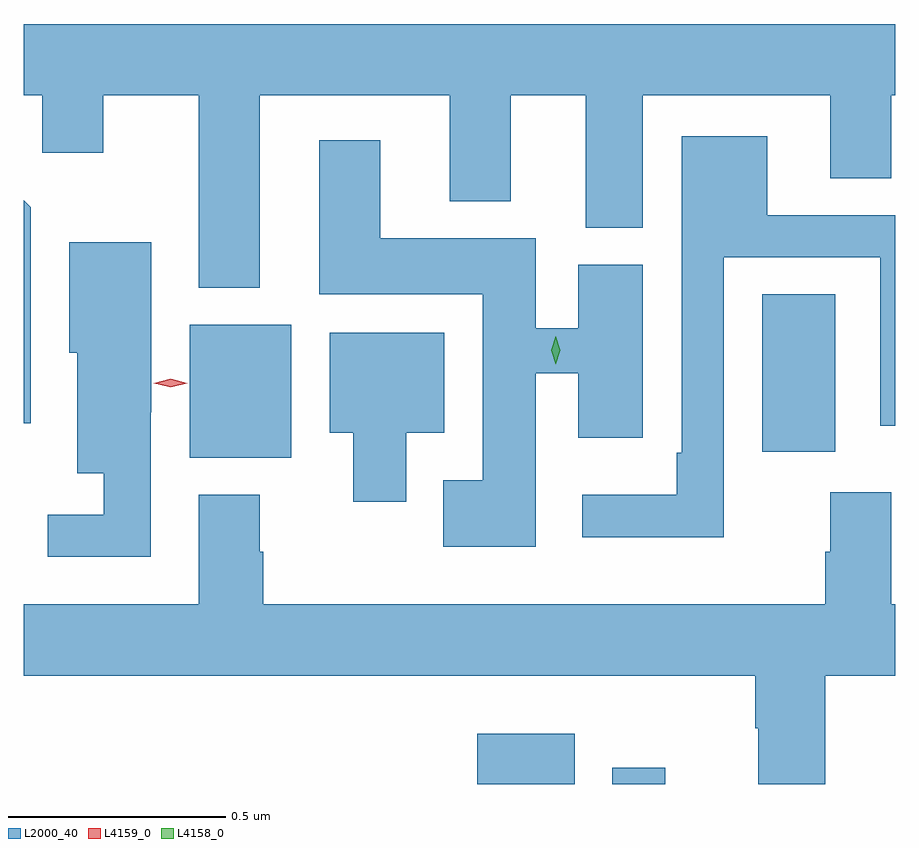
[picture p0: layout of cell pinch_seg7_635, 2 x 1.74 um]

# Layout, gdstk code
import gdstk
lib = gdstk.Library(unit=1e-6, precision=1e-09)
def R(c, l, rs):  # rectangles x0, y0, x1, y1
    for r in rs: c.add(gdstk.rectangle(r[:2], r[2:], *l))
def P(c, l, *ps):  # polygons
    for p in ps: c.add(gdstk.Polygon(p, *l))
L2000_40 = (2000, 40)
L4158_0 = (4158, 0)
L4159_0 = (4159, 0)

pinch_seg7_635 = lib.new_cell('pinch_seg7_635')
R(pinch_seg7_635, L2000_40, [(168.902,1032.336,169.126,1032.451), (169.211,1032.336,169.333,1032.373), (168.242,1033.085,168.475,1033.39), (169.556,1033.098,169.723,1033.46)])
P(pinch_seg7_635, L2000_40, [(168.403,1033.916),(168.839,1033.916),(168.839,1033.673),(168.979,1033.673),(168.979,1033.916),(169.151,1033.916),(169.151,1033.612),(169.282,1033.612),(169.282,1033.916),(169.712,1033.916),(169.712,1033.726),(169.852,1033.726),(169.852,1033.916),(169.861,1033.916),(169.861,1034.08),(167.861,1034.08),(167.861,1033.916),(167.904,1033.916),(167.904,1033.785),(168.043,1033.785),(168.043,1033.916),(168.263,1033.916),(168.263,1033.475),(168.403,1033.475)],
  [(169.467,1033.545),(169.827,1033.545),(169.827,1033.158),(169.861,1033.158),(169.861,1033.641),(169.567,1033.641),(169.567,1033.822),(169.371,1033.822),(169.371,1033.096),(169.359,1033.096),(169.359,1033),(169.143,1033),(169.143,1032.902),(169.467,1032.902)],
  [(169.036,1033.279),(169.133,1033.279),(169.133,1033.131),(169.282,1033.131),(169.282,1033.527),(169.133,1033.527),(169.133,1033.382),(169.036,1033.382),(169.036,1033.588),(168.679,1033.588),(168.679,1033.813),(168.539,1033.813),(168.539,1033.46),(168.914,1033.46),(168.914,1033.033),(168.824,1033.033),(168.824,1032.881),(169.036,1032.881)],
  [(167.877,1033.659),(167.861,1033.675),(167.861,1033.164),(167.877,1033.164)],
  [(168.153,1033.189),(168.154,1033.189),(168.154,1033.579),(167.966,1033.579),(167.966,1033.326),(167.984,1033.326),(167.984,1033.049),(168.045,1033.049),(168.045,1032.954),(167.916,1032.954),(167.916,1032.858),(168.153,1032.858)],
  [(168.739,1033.142),(168.826,1033.142),(168.826,1033.372),(168.563,1033.372),(168.563,1033.142),(168.617,1033.142),(168.617,1032.984),(168.739,1032.984)],
  [(169.7,1032.584),(169.861,1032.584),(169.861,1032.748),(169.852,1032.748),(169.852,1033.006),(169.712,1033.006),(169.712,1032.869),(169.7,1032.869),(169.7,1032.748),(168.411,1032.748),(168.411,1032.869),(168.403,1032.869),(168.403,1033),(168.263,1033),(168.263,1032.748),(167.861,1032.748),(167.861,1032.584),(169.54,1032.584),(169.54,1032.464),(169.547,1032.464),(169.547,1032.336),(169.7,1032.336)])
P(pinch_seg7_635, L4158_0, [(169.082,1033.299),(169.082,1033.299),(169.072,1033.331),(169.082,1033.363),(169.082,1033.363),(169.082,1033.363),(169.092,1033.331),(169.082,1033.299)])
P(pinch_seg7_635, L4159_0, [(168.198,1033.246),(168.159,1033.256),(168.159,1033.256),(168.159,1033.256),(168.198,1033.266),(168.236,1033.256),(168.236,1033.256),(168.236,1033.256)])

lib.write_gds('pinch_seg7_635.gds')
